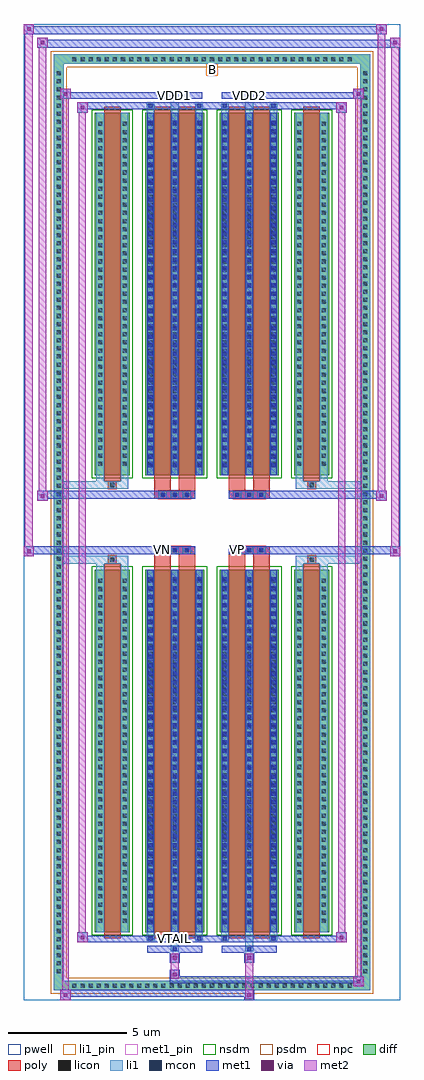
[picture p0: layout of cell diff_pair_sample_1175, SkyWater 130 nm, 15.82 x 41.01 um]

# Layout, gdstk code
import gdstk
lib = gdstk.Library(unit=1e-6, precision=5e-09)
def R(c, l, rs):  # rectangles x0, y0, x1, y1
    for r in rs: c.add(gdstk.rectangle(r[:2], r[2:], *l))
def A(c, l, x, y, w, h, nx, ny, dx, dy):  # array of equal rectangles
    R(c, l, [(x+i*dx, y+j*dy, x+i*dx+w, y+j*dy+h) for i in range(nx) for j in range(ny)])
def P(c, l, *ps):  # polygons
    for p in ps: c.add(gdstk.Polygon(p, *l))
pwell = (64, 44)
diff = (65, 20)
poly = (66, 20)
licon = (66, 44)
li1_pin = (67, 16)
li1 = (67, 20)
mcon = (67, 44)
met1_pin = (68, 16)
met1 = (68, 20)
via = (68, 44)
met2 = (69, 20)
nsdm = (93, 44)
psdm = (94, 20)
npc = (95, 20)

diff_pair_sample_1175 = lib.new_cell('diff_pair_sample_1175')
R(diff_pair_sample_1175, pwell, [(-7.91,-20.07,7.91,20.94), (-5.23,-18.26,-0.01,-0.8), (0.01,-18.26,5.23,-0.8), (-5.23,0.8,-0.01,18.26), (0.01,0.8,5.23,18.26)])
A(diff_pair_sample_1175, diff, -5.985, -19.67, 0.41, 0.41, 35, 2, 0.34, 38.93)
A(diff_pair_sample_1175, diff, -6.64, -19.075, 0.41, 0.41, 1, 112, 0, 0.34)
A(diff_pair_sample_1175, diff, 6.23, -19.075, 0.41, 0.41, 1, 112, 0, 0.34)
R(diff_pair_sample_1175, diff, [(-5.985,-19.67,5.985,-19.26), (-6.64,-19.075,-6.23,19.075), (6.23,-19.075,6.64,19.075), (-4.92,-17.215,-3.45,-1.985), (-2.81,-17.215,-0.32,-1.985), (0.32,-17.215,2.81,-1.985), (3.45,-17.215,4.92,-1.985), (-4.92,1.985,-3.45,17.215), (-2.81,1.985,-0.32,17.215), (0.32,1.985,2.81,17.215), (3.45,1.985,4.92,17.215), (-5.985,19.26,5.985,19.67)])
P(diff_pair_sample_1175, diff, [(6.64,19.67),(-6.64,19.67),(-6.64,-19.26),(-6.23,-19.26),(-6.23,19.26),(6.23,19.26),(6.23,-19.26),(-6.23,-19.26),(-6.64,-19.26),(-6.64,-19.67),(6.64,-19.67)])
A(diff_pair_sample_1175, poly, -2.23, -1.33, 0.33, 0.33, 3, 2, 0.5, 2.33)
A(diff_pair_sample_1175, poly, 0.9, -1.33, 0.33, 0.33, 3, 2, 0.5, 2.33)
R(diff_pair_sample_1175, poly, [(-4.53,-17.465,-3.84,-1.735), (-2.42,-17.465,-1.73,-1.735), (-1.4,-17.465,-0.71,-1.735), (0.71,-17.465,1.4,-1.735), (1.73,-17.465,2.42,-1.735), (3.84,-17.465,4.53,-1.735), (-4.35,-1.735,-4.02,-1.405), (-4.35,-1.735,-4.02,-1.405), (-2.42,-1.735,-1.73,-1.33), (-1.4,-1.735,-0.71,-1.33), (0.71,-1.735,1.4,-1.33), (1.73,-1.735,2.42,-1.33), (4.02,-1.735,4.35,-1.405), (4.02,-1.735,4.35,-1.405), (-2.42,-1.33,-0.71,-1), (0.71,-1.33,2.42,-1), (-2.42,1,-0.71,1.33), (0.71,1,2.42,1.33), (-2.42,1.33,-1.73,1.735), (-1.4,1.33,-0.71,1.735), (0.71,1.33,1.4,1.735), (1.73,1.33,2.42,1.735), (-4.35,1.405,-4.02,1.735), (-4.35,1.405,-4.02,1.735), (4.02,1.405,4.35,1.735), (4.02,1.405,4.35,1.735), (-4.53,1.735,-3.84,17.465), (-2.42,1.735,-1.73,17.465), (-1.4,1.735,-0.71,17.465), (0.71,1.735,1.4,17.465), (1.73,1.735,2.42,17.465), (3.84,1.735,4.53,17.465)])
A(diff_pair_sample_1175, licon, -5.865, -19.55, 0.17, 0.17, 35, 2, 0.34, 38.93)
A(diff_pair_sample_1175, licon, -6.52, -18.955, 0.17, 0.17, 1, 112, 0, 0.34)
A(diff_pair_sample_1175, licon, 6.35, -18.955, 0.17, 0.17, 1, 112, 0, 0.34)
A(diff_pair_sample_1175, licon, -4.78, -16.825, 0.17, 0.17, 1, 43, 0, 0.34)
A(diff_pair_sample_1175, licon, -3.76, -16.825, 0.17, 0.17, 1, 43, 0, 0.34)
A(diff_pair_sample_1175, licon, -2.67, -16.825, 0.17, 0.17, 3, 43, 1.02, 0.34)
A(diff_pair_sample_1175, licon, 0.46, -16.825, 0.17, 0.17, 3, 43, 1.02, 0.34)
A(diff_pair_sample_1175, licon, 3.59, -16.825, 0.17, 0.17, 1, 43, 0, 0.34)
A(diff_pair_sample_1175, licon, 4.61, -16.825, 0.17, 0.17, 1, 43, 0, 0.34)
A(diff_pair_sample_1175, licon, -2.15, -1.25, 0.17, 0.17, 3, 2, 0.5, 2.33)
A(diff_pair_sample_1175, licon, 0.98, -1.25, 0.17, 0.17, 3, 2, 0.5, 2.33)
A(diff_pair_sample_1175, licon, -4.78, 2.375, 0.17, 0.17, 1, 43, 0, 0.34)
A(diff_pair_sample_1175, licon, -3.76, 2.375, 0.17, 0.17, 1, 43, 0, 0.34)
A(diff_pair_sample_1175, licon, -2.67, 2.375, 0.17, 0.17, 3, 43, 1.02, 0.34)
A(diff_pair_sample_1175, licon, 0.46, 2.375, 0.17, 0.17, 3, 43, 1.02, 0.34)
A(diff_pair_sample_1175, licon, 3.59, 2.375, 0.17, 0.17, 1, 43, 0, 0.34)
A(diff_pair_sample_1175, licon, 4.61, 2.375, 0.17, 0.17, 1, 43, 0, 0.34)
R(diff_pair_sample_1175, licon, [(-4.27,-1.655,-4.1,-1.485), (4.1,-1.655,4.27,-1.485), (-4.27,1.485,-4.1,1.655), (4.1,1.485,4.27,1.655)])
R(diff_pair_sample_1175, li1_pin, [(-0.25,18.76,0.25,19.26)])
A(diff_pair_sample_1175, li1, -5.945, -19.63, 0.33, 0.33, 35, 2, 0.34, 38.93)
A(diff_pair_sample_1175, li1, -6.6, -19.035, 0.33, 0.33, 1, 112, 0, 0.34)
A(diff_pair_sample_1175, li1, 6.27, -19.035, 0.33, 0.33, 1, 112, 0, 0.34)
A(diff_pair_sample_1175, li1, -2.75, -17.215, 0.33, 15.23, 3, 2, 1.02, 19.2)
A(diff_pair_sample_1175, li1, 0.38, -17.215, 0.33, 15.23, 3, 2, 1.02, 19.2)
A(diff_pair_sample_1175, li1, -4.86, -16.905, 0.33, 0.33, 1, 43, 0, 0.34)
A(diff_pair_sample_1175, li1, -3.84, -16.905, 0.33, 0.33, 1, 43, 0, 0.34)
A(diff_pair_sample_1175, li1, -2.75, -16.905, 0.33, 0.33, 3, 43, 1.02, 0.34)
A(diff_pair_sample_1175, li1, 0.38, -16.905, 0.33, 0.33, 3, 43, 1.02, 0.34)
A(diff_pair_sample_1175, li1, 3.51, -16.905, 0.33, 0.33, 1, 43, 0, 0.34)
A(diff_pair_sample_1175, li1, 4.53, -16.905, 0.33, 0.33, 1, 43, 0, 0.34)
A(diff_pair_sample_1175, li1, -2.67, -16.885, 0.17, 0.17, 3, 41, 1.02, 0.36)
A(diff_pair_sample_1175, li1, -2.67, -16.885, 0.17, 14.57, 3, 2, 1.02, 19.2)
A(diff_pair_sample_1175, li1, 0.46, -16.885, 0.17, 0.17, 3, 41, 1.02, 0.36)
A(diff_pair_sample_1175, li1, 0.46, -16.885, 0.17, 14.57, 3, 2, 1.02, 19.2)
A(diff_pair_sample_1175, li1, -2.23, -1.33, 0.33, 0.33, 3, 2, 0.5, 2.33)
A(diff_pair_sample_1175, li1, 0.9, -1.33, 0.33, 0.33, 3, 2, 0.5, 2.33)
A(diff_pair_sample_1175, li1, -4.86, 2.295, 0.33, 0.33, 1, 43, 0, 0.34)
A(diff_pair_sample_1175, li1, -3.84, 2.295, 0.33, 0.33, 1, 43, 0, 0.34)
A(diff_pair_sample_1175, li1, -2.75, 2.295, 0.33, 0.33, 3, 43, 1.02, 0.34)
A(diff_pair_sample_1175, li1, 0.38, 2.295, 0.33, 0.33, 3, 43, 1.02, 0.34)
A(diff_pair_sample_1175, li1, 3.51, 2.295, 0.33, 0.33, 1, 43, 0, 0.34)
A(diff_pair_sample_1175, li1, 4.53, 2.295, 0.33, 0.33, 1, 43, 0, 0.34)
A(diff_pair_sample_1175, li1, -2.67, 2.315, 0.17, 0.17, 3, 41, 1.02, 0.36)
A(diff_pair_sample_1175, li1, 0.46, 2.315, 0.17, 0.17, 3, 41, 1.02, 0.36)
R(diff_pair_sample_1175, li1, [(-6.64,-19.67,-6.23,-19.26), (-6.64,-19.67,-6.23,-19.26), (-6.23,-19.67,6.23,-19.26), (6.23,-19.67,6.64,-19.26), (6.23,-19.67,6.64,-19.26), (-6.64,-19.26,-6.23,19.26), (6.23,-19.26,6.64,19.26), (-1.73,-18.02,-1.4,-17.215), (-1.65,-18.02,-1.48,-17.85), (1.4,-18.02,1.73,-17.215), (1.48,-18.02,1.65,-17.85), (-2.75,-17.59,-2.42,-17.215), (-2.67,-17.59,-2.5,-17.42), (-0.71,-17.59,-0.38,-17.215), (-0.63,-17.59,-0.46,-17.42), (0.38,-17.59,0.71,-17.215), (0.46,-17.59,0.63,-17.42), (2.42,-17.59,2.75,-17.215), (2.5,-17.59,2.67,-17.42), (-4.86,-17.215,-4.53,-1.985), (-3.84,-17.215,-3.51,-1.985), (3.51,-17.215,3.84,-1.985), (4.53,-17.215,4.86,-1.985), (-4.86,-1.985,-4.53,-1.405), (-3.84,-1.985,-3.51,-1.405), (3.51,-1.985,3.84,-1.405), (4.53,-1.985,4.86,-1.405), (-6.64,-1.735,-4.35,-1.405), (-4.86,-1.735,-4.35,-1.405), (-4.35,-1.735,-4.02,-1.405), (-4.02,-1.735,-3.51,-1.405), (3.51,-1.735,4.02,-1.405), (4.02,-1.735,4.35,-1.405), (4.02,-1.735,6.64,-1.405), (4.35,-1.735,4.86,-1.405), (-6.64,1.405,-4.35,1.735), (-4.86,1.405,-4.35,1.735), (-4.86,1.405,-4.53,1.985), (-4.35,1.405,-4.02,1.735), (-4.02,1.405,-3.51,1.735), (-3.84,1.405,-3.51,1.985), (3.51,1.405,4.02,1.735), (3.51,1.405,3.84,1.985), (4.02,1.405,4.35,1.735), (4.02,1.405,6.64,1.735), (4.35,1.405,4.86,1.735), (4.53,1.405,4.86,1.985), (-4.86,1.985,-4.53,17.215), (-3.84,1.985,-3.51,17.215), (3.51,1.985,3.84,17.215), (4.53,1.985,4.86,17.215), (-2.75,17.215,-2.42,17.59), (-1.73,17.215,-1.4,18.02), (-0.71,17.215,-0.38,17.59), (0.38,17.215,0.71,17.59), (1.4,17.215,1.73,18.02), (2.42,17.215,2.75,17.59), (-2.67,17.42,-2.5,17.59), (-0.63,17.42,-0.46,17.59), (0.46,17.42,0.63,17.59), (2.5,17.42,2.67,17.59), (-1.65,17.85,-1.48,18.02), (1.48,17.85,1.65,18.02), (-6.64,19.26,-6.23,19.67), (-6.64,19.26,-6.23,19.67), (-6.23,19.26,6.23,19.67), (6.23,19.26,6.64,19.67), (6.23,19.26,6.64,19.67)])
A(diff_pair_sample_1175, mcon, -2.67, -16.885, 0.17, 0.17, 3, 41, 1.02, 0.36)
A(diff_pair_sample_1175, mcon, 0.46, -16.885, 0.17, 0.17, 3, 41, 1.02, 0.36)
A(diff_pair_sample_1175, mcon, -2.15, -1.25, 0.17, 0.17, 3, 2, 0.5, 2.33)
A(diff_pair_sample_1175, mcon, 0.98, -1.25, 0.17, 0.17, 3, 2, 0.5, 2.33)
A(diff_pair_sample_1175, mcon, -2.67, 2.315, 0.17, 0.17, 3, 41, 1.02, 0.36)
A(diff_pair_sample_1175, mcon, 0.46, 2.315, 0.17, 0.17, 3, 41, 1.02, 0.36)
R(diff_pair_sample_1175, mcon, [(-1.65,-18.02,-1.48,-17.85), (1.48,-18.02,1.65,-17.85), (-2.67,-17.59,-2.5,-17.42), (-0.63,-17.59,-0.46,-17.42), (0.46,-17.59,0.63,-17.42), (2.5,-17.59,2.67,-17.42), (-2.67,17.42,-2.5,17.59), (-0.63,17.42,-0.46,17.59), (0.46,17.42,0.63,17.59), (2.5,17.42,2.67,17.59), (-1.65,17.85,-1.48,18.02), (1.48,17.85,1.65,18.02)])
R(diff_pair_sample_1175, met1_pin, [(-1.7,-17.63,-1.43,-17.36), (-2.2,-1.29,-1.93,-1.02), (0.93,-1.29,1.2,-1.02), (-1.7,17.81,-1.43,18.08), (1.43,17.81,1.7,18.08)])
A(diff_pair_sample_1175, met1, -2.73, -17.215, 0.29, 15.23, 3, 2, 1.02, 19.2)
A(diff_pair_sample_1175, met1, 0.4, -17.215, 0.29, 15.23, 3, 2, 1.02, 19.2)
A(diff_pair_sample_1175, met1, -2.73, -16.945, 0.29, 0.29, 3, 41, 1.02, 0.36)
A(diff_pair_sample_1175, met1, 0.4, -16.945, 0.29, 0.29, 3, 41, 1.02, 0.36)
A(diff_pair_sample_1175, met1, -2.21, -1.31, 0.29, 0.29, 3, 2, 0.5, 2.33)
A(diff_pair_sample_1175, met1, 0.92, -1.31, 0.29, 0.29, 3, 2, 0.5, 2.33)
A(diff_pair_sample_1175, met1, -2.73, 2.255, 0.29, 0.29, 3, 41, 1.02, 0.36)
A(diff_pair_sample_1175, met1, 0.4, 2.255, 0.29, 0.29, 3, 41, 1.02, 0.36)
R(diff_pair_sample_1175, met1, [(-6.37,-20.07,-5.94,-19.64), (1.35,-20.07,1.78,-19.64), (-6.37,-19.93,1.78,-19.64), (5.94,-19.5,6.37,-19.07), (-1.78,-19.36,6.37,-19.07), (-1.78,-19.22,-1.35,-18.79), (-1.78,-18.51,-1.35,-18.08), (1.35,-18.51,1.78,-18.08), (-2.73,-18.08,-0.4,-17.79), (-1.71,-18.08,-1.42,-17.79), (0.4,-18.08,2.73,-17.79), (1.42,-18.08,1.71,-17.79), (-5.66,-17.65,-5.23,-17.22), (-5.66,-17.65,-2.73,-17.36), (-2.73,-17.65,-2.44,-17.36), (-2.73,-17.65,-0.4,-17.36), (-0.69,-17.65,-0.4,-17.36), (-0.4,-17.65,0.4,-17.36), (0.4,-17.65,0.69,-17.36), (0.4,-17.65,2.73,-17.36), (2.44,-17.65,2.73,-17.36), (2.73,-17.65,5.66,-17.36), (5.23,-17.65,5.66,-17.22), (-7.91,-1.43,-7.48,-1), (7.48,-1.43,7.91,-1), (-7.91,-1.33,-0.71,-1), (-2.42,-1.33,-0.71,-1), (0.71,-1.33,2.42,-1), (0.71,-1.33,7.91,-1), (-7.34,0.9,-6.91,1.33), (6.91,0.9,7.34,1.33), (-7.34,1,-2.42,1.33), (-2.42,1,-0.71,1.33), (0.71,1,2.42,1.33), (2.42,1,7.34,1.33), (-5.66,17.22,-5.23,17.65), (5.23,17.22,5.66,17.65), (-5.66,17.36,-2.73,17.65), (-2.73,17.36,-2.44,17.65), (-2.73,17.36,-0.4,17.65), (-0.69,17.36,-0.4,17.65), (-0.4,17.36,0.4,17.65), (0.4,17.36,0.69,17.65), (0.4,17.36,2.73,17.65), (2.44,17.36,2.73,17.65), (2.73,17.36,5.66,17.65), (-6.37,17.79,-5.94,18.22), (-6.37,17.79,-2.73,18.08), (-2.73,17.79,-0.4,18.08), (-1.71,17.79,-1.42,18.08), (0.4,17.79,2.73,18.08), (1.42,17.79,1.71,18.08), (2.73,17.79,6.37,18.08), (5.94,17.79,6.37,18.22), (-7.34,19.94,-6.91,20.37), (-7.34,19.94,-5.23,20.27), (-5.23,19.94,5.23,20.27), (5.23,19.94,7.91,20.27), (7.48,19.94,7.91,20.37), (-7.91,20.51,-7.48,20.94), (-7.91,20.51,-5.23,20.84), (-5.23,20.51,5.23,20.84), (5.23,20.51,7.34,20.84), (6.91,20.51,7.34,20.94)])
R(diff_pair_sample_1175, via, [(-6.23,-19.93,-6.08,-19.78), (1.49,-19.93,1.64,-19.78), (6.08,-19.36,6.23,-19.21), (-1.64,-19.08,-1.49,-18.93), (-1.64,-18.37,-1.49,-18.22), (1.49,-18.37,1.64,-18.22), (-5.52,-17.51,-5.37,-17.36), (5.37,-17.51,5.52,-17.36), (-7.77,-1.29,-7.62,-1.14), (7.62,-1.29,7.77,-1.14), (-7.2,1.04,-7.05,1.19), (7.05,1.04,7.2,1.19), (-5.52,17.36,-5.37,17.51), (5.37,17.36,5.52,17.51), (-6.23,17.93,-6.08,18.08), (6.08,17.93,6.23,18.08), (-7.2,20.08,-7.05,20.23), (7.62,20.08,7.77,20.23), (-7.77,20.65,-7.62,20.8), (7.05,20.65,7.2,20.8)])
R(diff_pair_sample_1175, met2, [(-6.37,-20.07,-5.94,-19.64), (-6.3,-20.07,-6.01,18.22), (-6.01,-20.07,-5.94,-19.64), (-6.32,-20.02,-5.99,-19.69), (1.4,-20.02,1.73,-19.69), (1.4,-19.69,1.73,-18.46), (5.94,-19.5,6.37,-19.07), (6.01,-19.5,6.3,18.22), (6.3,-19.5,6.37,-19.07), (5.99,-19.45,6.32,-19.12), (-1.73,-19.17,-1.4,-18.84), (-1.73,-18.84,-1.4,-18.46), (-1.73,-18.46,-1.4,-18.13), (1.4,-18.46,1.73,-18.13), (-5.66,-17.65,-5.23,-17.22), (-5.59,-17.65,-5.3,17.65), (-5.3,-17.65,-5.23,-17.22), (5.23,-17.65,5.66,-17.22), (5.3,-17.65,5.59,17.65), (5.59,-17.65,5.66,-17.22), (-5.61,-17.6,-5.28,-17.27), (5.28,-17.6,5.61,-17.27), (-7.91,-1.43,-7.48,-1), (-7.86,-1.43,-7.53,20.94), (-7.53,-1.43,-7.48,-1), (7.48,-1.43,7.91,-1), (7.53,-1.43,7.86,20.37), (7.86,-1.43,7.91,-1), (-7.86,-1.38,-7.53,-1.05), (7.53,-1.38,7.86,-1.05), (-7.34,0.9,-6.91,1.33), (-7.29,0.9,-6.96,20.37), (-6.96,0.9,-6.91,1.33), (6.91,0.9,7.34,1.33), (6.96,0.9,7.29,20.94), (7.29,0.9,7.34,1.33), (-7.29,0.95,-6.96,1.28), (6.96,0.95,7.29,1.28), (-5.66,17.22,-5.23,17.65), (-5.3,17.22,-5.23,17.65), (5.23,17.22,5.66,17.65), (5.59,17.22,5.66,17.65), (-5.61,17.27,-5.28,17.6), (5.28,17.27,5.61,17.6), (-6.37,17.79,-5.94,18.22), (-6.01,17.79,-5.94,18.22), (5.94,17.79,6.37,18.22), (6.3,17.79,6.37,18.22), (-6.32,17.84,-5.99,18.17), (5.99,17.84,6.32,18.17), (-7.34,19.94,-6.91,20.37), (-6.96,19.94,-6.91,20.37), (7.48,19.94,7.91,20.37), (7.86,19.94,7.91,20.37), (-7.29,19.99,-6.96,20.32), (7.53,19.99,7.86,20.32), (-7.91,20.51,-7.48,20.94), (-7.53,20.51,-7.48,20.94), (6.91,20.51,7.34,20.94), (7.29,20.51,7.34,20.94), (-7.86,20.56,-7.53,20.89), (6.96,20.56,7.29,20.89)])
R(diff_pair_sample_1175, nsdm, [(-5.05,-17.345,-3.32,-1.855), (-2.94,-17.345,-0.19,-1.855), (0.19,-17.345,2.94,-1.855), (3.32,-17.345,5.05,-1.855), (-5.05,1.855,-3.32,17.345), (-2.94,1.855,-0.19,17.345), (0.19,1.855,2.94,17.345), (3.32,1.855,5.05,17.345)])
P(diff_pair_sample_1175, psdm, [(6.77,19.8),(-6.77,19.8),(-6.77,-19.13),(-6.1,-19.13),(-6.1,19.13),(6.1,19.13),(6.1,-19.13),(-6.1,-19.13),(-6.77,-19.13),(-6.77,-19.8),(6.77,-19.8)])
A(diff_pair_sample_1175, npc, -2.25, -1.35, 0.37, 0.37, 3, 2, 0.5, 2.33)
A(diff_pair_sample_1175, npc, 0.88, -1.35, 0.37, 0.37, 3, 2, 0.5, 2.33)
R(diff_pair_sample_1175, npc, [(-4.37,-1.755,-4,-1.385), (4,-1.755,4.37,-1.385), (-2.25,-1.35,-1.38,-0.98), (-2.25,-1.35,-1.38,-0.98), (-1.75,-1.35,-0.88,-0.98), (-1.75,-1.35,-0.88,-0.98), (0.88,-1.35,1.75,-0.98), (0.88,-1.35,1.75,-0.98), (1.38,-1.35,2.25,-0.98), (1.38,-1.35,2.25,-0.98), (-2.25,0.98,-1.38,1.35), (-2.25,0.98,-1.38,1.35), (-1.75,0.98,-0.88,1.35), (-1.75,0.98,-0.88,1.35), (0.88,0.98,1.75,1.35), (0.88,0.98,1.75,1.35), (1.38,0.98,2.25,1.35), (1.38,0.98,2.25,1.35), (-4.37,1.385,-4,1.755), (4,1.385,4.37,1.755)])
diff_pair_sample_1175.add(gdstk.Label('VTAIL', (-1.565,-17.495), layer=68, texttype=5))
diff_pair_sample_1175.add(gdstk.Label('VN', (-2.065,-1.155), layer=68, texttype=5))
diff_pair_sample_1175.add(gdstk.Label('VP', (1.065,-1.155), layer=68, texttype=5))
diff_pair_sample_1175.add(gdstk.Label('B', (0,19.01), layer=67, texttype=5))
diff_pair_sample_1175.add(gdstk.Label('VDD2', (1.565,17.945), layer=68, texttype=5))
diff_pair_sample_1175.add(gdstk.Label('VDD1', (-1.565,17.945), layer=68, texttype=5))

lib.write_gds('diff_pair_sample_1175.gds')
